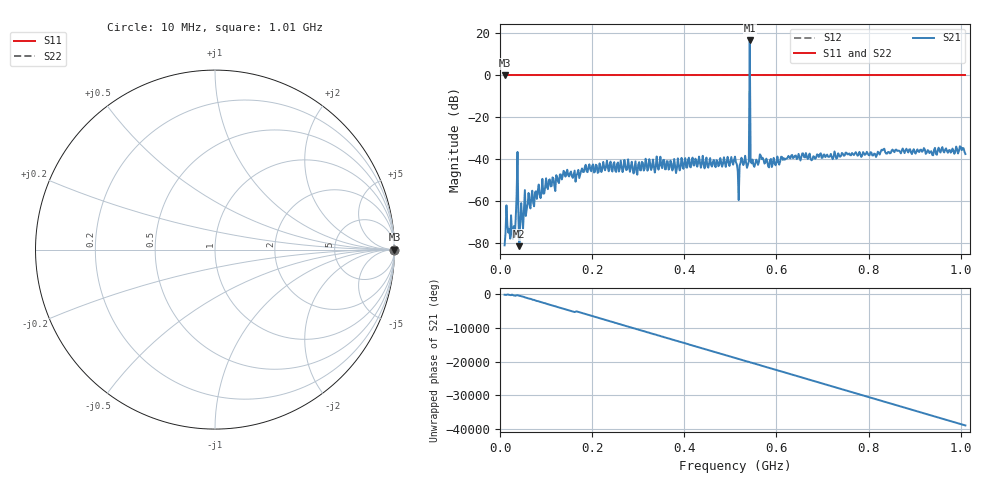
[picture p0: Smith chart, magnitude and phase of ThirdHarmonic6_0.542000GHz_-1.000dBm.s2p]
! 8/15/2025 5:03:17 PM
! C:\ANRITSUVNA\TEMP\TEMP.S2P
! CHANNEL.1
! TR.MEASUREMENT
! RAW.DATA
! RF.CORRECTION.OFF
! AVERAGING.OFF
! IF.BANDWIDTH: 5KHZ
! SWEEPTYPE:  FREQ.SWEEP(Linear)
! Reference Plane Port Info
! PORT:  PORT1  PORT2
! DISTANCE:  0  m  0  m
! TIME:  0  s  0  s
! PHASE.OFFSET:  0  deg.  0  deg.
! LOSS:  0  dB  0  dB
! REF.LOSS:  0  dB  0  dB
! REF.FREQ:  0  Hz  0  Hz
! Power Info
! POWER:  -20  dBm  -20  dBm
! EFF.POWER:  -20  dBm  -20  dBm
! SOURCE.ATTEN:  0  dB  0  dB
! TEST.ATTEN:  0  dB  0  dB
# GHZ S RI R 50.0
! FREQ.GHZ  S11RE  S11IM  S21RE  S21IM  S12RE  S12IM  S22RE  S22IM
!; PortSelection: Port_12
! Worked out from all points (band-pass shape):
!   501 points, 10 MHz to 1.01 GHz, reference 50 ohm
!   highest |S21| = 16.61 dB at 542 MHz (marker M1); lowest = -81.7 dB at 42 MHz (marker M2)
!   |S21| within 3 dB of the highest: 541.8963 MHz to 542.1041 MHz (207.8 kHz wide, 0.0383 % of centre)
!   lowest |S11| = 0.0 dB at 10 MHz (marker M3)
!   |S11| at or under -10 dB: nowhere
!   |S22| runs from 0.0 to 0.0 dB; largest |S21 - S12| = 5.8
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0.01  1 0  -5.99e-05 -6.14e-05  1 0  1 0
0.016  1 0  2.17e-05 -0.00026  1 0  1 0
0.03  1 0  0.000246 9.1e-06  1 0  1 0
0.034  1 0  0.000187 -0.000305  1 0  1 0
0.042  1 0  -4.45e-05 -6.87e-05  1 0  1 0
0.046  1 0  -0.000627 0.000609  1 0  1 0
0.058  1 0  0.00056 0.000285  1 0  1 0
0.08  1 0  -0.00109 0.000171  1 0  1 0
0.142  1 0  -0.00338 -0.00164  1 0  1 0
0.178  1 0  -0.00574 -0.00136  1 0  1 0
0.344  1 0  0.0055 0.000371  1 0  1 0
0.51  1 0  -0.0113 -0.000801  1 0  1 0
0.518  1 0  0.000186 -0.00102  1 0  1 0
0.524  1 0  0.0104 -0.00221  1 0  1 0
0.536  1 0  -0.00461 -0.00401  1 0  1 0
0.538  1 0  -0.0068 0.00257  1 0  1 0
0.542  1 0  6.596 1.503  1 0  1 0
0.546  1 0  -0.00751 -0.0022  1 0  1 0
0.548  1 0  -0.00366 0.00891  1 0  1 0
0.678  1 0  0.00518 -0.00822  1 0  1 0
0.844  1 0  -0.00531 0.0136  1 0  1 0
1.01  1 0  0.00389 -0.0125  1 0  1 0
